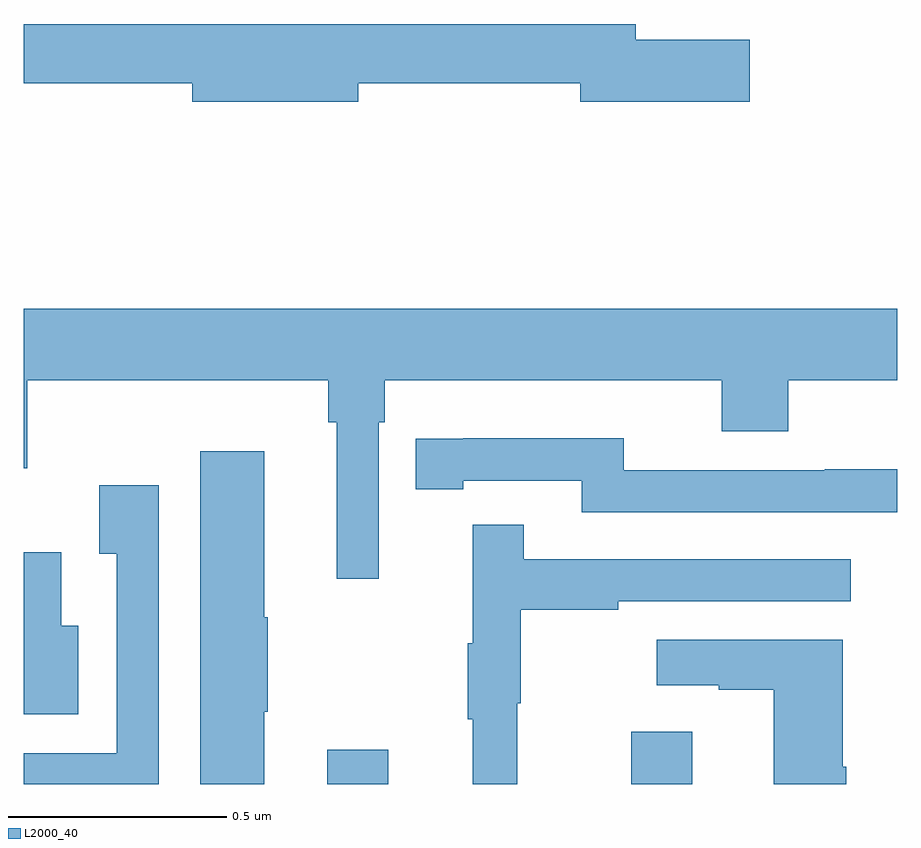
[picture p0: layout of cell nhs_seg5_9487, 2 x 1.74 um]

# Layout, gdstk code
import gdstk
lib = gdstk.Library(unit=1e-6, precision=1e-09)
def R(c, l, rs):  # rectangles x0, y0, x1, y1
    for r in rs: c.add(gdstk.rectangle(r[:2], r[2:], *l))
def P(c, l, *ps):  # polygons
    for p in ps: c.add(gdstk.Polygon(p, *l))
L2000_40 = (2000, 40)

nhs_seg5_9487 = lib.new_cell('nhs_seg5_9487')
R(nhs_seg5_9487, L2000_40, [(234.695,891.799,234.835,891.877), (235.391,891.799,235.531,891.919)])
P(nhs_seg5_9487, L2000_40, [(234.766,893.404),(235.274,893.404),(235.274,893.362),(235.663,893.362),(235.663,893.504),(235.402,893.504),(235.402,893.54),(234,893.54),(234,893.404),(234.386,893.404),(234.386,893.362),(234.766,893.362)],
  [(234.813,892.628),(234.827,892.628),(234.827,892.724),(235.598,892.724),(235.598,892.607),(235.751,892.607),(235.751,892.724),(236,892.724),(236,892.888),(234,892.888),(234,892.522),(234.008,892.522),(234.008,892.724),(234.697,892.724),(234.697,892.628),(234.716,892.628),(234.716,892.269),(234.813,892.269)],
  [(236,892.52),(235.834,892.52),(235.834,892.518),(235.374,892.518),(235.374,892.591),(235.006,892.591),(235.006,892.59),(234.898,892.59),(234.898,892.474),(235.006,892.474),(235.006,892.494),(235.278,892.494),(235.278,892.422),(236,892.422)],
  [(234.55,891.964),(234.558,891.964),(234.558,892.181),(234.55,892.181),(234.55,892.561),(234.404,892.561),(234.404,891.799),(234.55,891.799)],
  [(234.309,892.483),(234.173,892.483),(234.173,892.327),(234.213,892.327),(234.213,891.87),(234,891.87),(234,891.799),(234.309,891.799)],
  [(235.13,891.984),(235.138,891.984),(235.138,892.198),(235.361,892.198),(235.361,892.218),(235.894,892.218),(235.894,892.314),(235.145,892.314),(235.145,892.393),(235.028,892.393),(235.028,892.121),(235.017,892.121),(235.017,891.947),(235.028,891.947),(235.028,891.799),(235.13,891.799)],
  [(234.124,892.162),(234.085,892.162),(234.085,892.33),(234,892.33),(234,891.959),(234.124,891.959)],
  [(235.884,891.838),(235.876,891.838),(235.876,892.129),(235.449,892.129),(235.449,892.025),(235.592,892.025),(235.592,892.015),(235.718,892.015),(235.718,891.799),(235.884,891.799)])

lib.write_gds('nhs_seg5_9487.gds')
